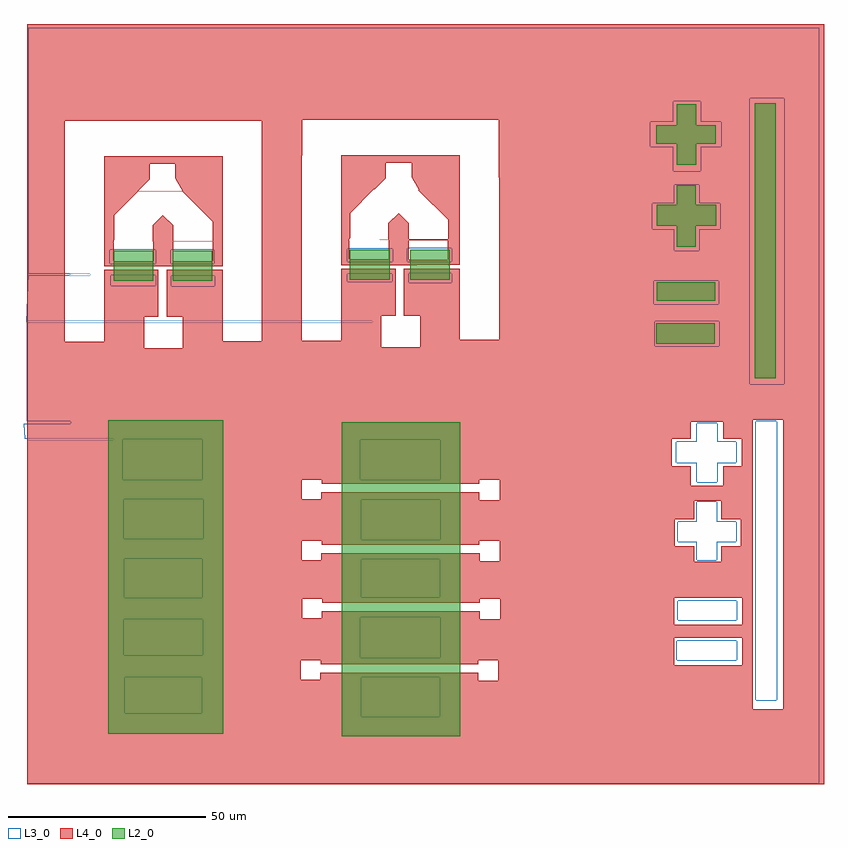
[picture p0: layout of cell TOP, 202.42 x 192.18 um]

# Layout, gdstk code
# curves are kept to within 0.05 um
import gdstk
lib = gdstk.Library(unit=1e-6, precision=1e-09)
def R(c, l, rs):  # rectangles x0, y0, x1, y1
    for r in rs: c.add(gdstk.rectangle(r[:2], r[2:], *l))
def P(c, l, *ps):  # polygons
    for p in ps: c.add(gdstk.Polygon(p, *l))
L2_0 = (2, 0)
L3_0 = (3, 0)
L4_0 = (4, 0)

top = lib.new_cell('TOP')
R(top, L2_0, [(-49679.902,9900.117,-49649.861,9979.466), (-49738.945,9900.682,-49709.785,9980.001), (-49575.408,9990.584,-49570.156,10060.165), (-49600.29,9999.365,-49585.534,10004.492), (-49600.217,10010.24,-49585.461,10014.867), (-49737.541,10015.277,-49727.5,10022.809), (-49722.643,10015.277,-49712.602,10022.809), (-49677.806,10015.521,-49667.765,10023.053), (-49662.56,10015.521,-49652.519,10023.053)])
P(top, L2_0, [(-49595.082,10044.605),(-49595.082,10049.982),(-49600.334,10049.982),(-49600.334,10054.609),(-49595.082,10054.609),(-49595.082,10059.861),(-49590.205,10059.861),(-49590.205,10054.609),(-49585.328,10054.609),(-49585.328,10049.982),(-49590.205,10049.982),(-49590.205,10044.605)],
  [(-49595.082,10023.846),(-49595.082,10029.224),(-49600.209,10029.224),(-49600.209,10034.476),(-49595.082,10034.476),(-49595.082,10039.478),(-49590.33,10039.478),(-49590.33,10034.476),(-49585.203,10034.476),(-49585.203,10029.224),(-49590.33,10029.224),(-49590.33,10023.846)])
P(top, L3_0, [(-49759.429,9888.114),(-49759.429,9914.967),(-49734.731,9914.967),(-49734.731,9905.859),(-49715.214,9905.859),(-49715.214,9914.967),(-49759.429,9914.967),(-49759.429,9915.053),(-49674.965,9915.053),(-49674.965,9904.991),(-49655.071,9904.991),(-49655.071,9915.053),(-49759.429,9915.053),(-49759.429,9929.626),(-49734.991,9929.626),(-49734.991,9920.605),(-49714.982,9920.605),(-49714.982,9929.626),(-49759.429,9929.626),(-49759.429,9930.147),(-49675.167,9930.147),(-49675.167,9919.882),(-49654.927,9919.882),(-49654.927,9924.237),(-49595.102,9924.237),(-49595.102,9919.374),(-49579.906,9919.374),(-49579.906,9924.237),(-49654.927,9924.237),(-49654.927,9930.147),(-49759.429,9930.147),(-49759.429,9934.419),(-49594.95,9934.419),(-49594.95,9929.404),(-49579.906,9929.404),(-49579.906,9934.419),(-49759.429,9934.419),(-49759.429,9945.009),(-49734.876,9945.009),(-49734.876,9935.178),(-49715.098,9935.178),(-49715.098,9944.893),(-49674.878,9944.893),(-49674.878,9935.207),(-49655.071,9935.207),(-49655.071,9944.893),(-49715.098,9944.893),(-49715.098,9945.009),(-49759.429,9945.009),(-49759.429,9960.045),(-49734.991,9960.045),(-49734.991,9950.098),(-49714.867,9950.098),(-49714.867,9959.929),(-49674.878,9959.929),(-49674.878,9949.809),(-49654.927,9949.809),(-49654.927,9959.341),(-49590.087,9959.341),(-49590.087,9954.326),(-49594.95,9954.326),(-49594.95,9949.311),(-49590.087,9949.311),(-49590.087,9944.6),(-49585.073,9944.6),(-49585.073,9949.311),(-49580.058,9949.311),(-49580.058,9954.326),(-49585.073,9954.326),(-49585.073,9959.341),(-49654.927,9959.341),(-49654.927,9959.929),(-49714.867,9959.929),(-49714.867,9960.045),(-49759.429,9960.045),(-49759.429,9975.123),(-49735.177,9975.123),(-49735.177,9964.931),(-49715.148,9964.931),(-49715.148,9975.109),(-49675.167,9975.109),(-49675.167,9964.989),(-49654.927,9964.989),(-49654.927,9975.109),(-49715.148,9975.109),(-49760.008,9975.261),(-49760.262,9979.07),(-49590.087,9979.248),(-49590.087,9974.537),(-49595.254,9974.537),(-49595.254,9969.218),(-49590.087,9969.218),(-49590.087,9964.355),(-49584.921,9964.355),(-49584.921,9969.218),(-49580.058,9969.218),(-49580.058,9974.537),(-49584.921,9974.537),(-49584.921,9979.248),(-49748.32,9979.248),(-49748.32,9979.704),(-49575.195,9979.704),(-49575.195,9909.192),(-49569.876,9909.192),(-49569.876,9979.704),(-49759.519,9979.704),(-49759.519,10005.036),(-49600.712,10005.036),(-49600.712,9998.674),(-49584.375,9998.674),(-49584.375,10005.036),(-49759.623,10004.721),(-49759.133,10017.173),(-49738.248,10016.652),(-49738.248,10013.988),(-49726.923,10013.988),(-49726.923,10016.578),(-49722.926,10016.578),(-49722.926,10013.914),(-49711.971,10013.914),(-49711.971,10016.578),(-49726.923,10016.578),(-49726.923,10016.652),(-49759.133,10016.652),(-49759.133,10016.994),(-49678.402,10016.994),(-49678.402,10015.005),(-49667.026,10015.005),(-49667.026,10016.994),(-49759.133,10016.994),(-49759.133,10017.121),(-49662.957,10017.121),(-49662.957,10014.787),(-49652.042,10014.787),(-49652.042,10015.3),(-49601.001,10015.3),(-49601.001,10009.373),(-49584.52,10009.373),(-49584.52,10015.3),(-49652.042,10015.3),(-49652.042,10017.121),(-49759.133,10017.121),(-49759.133,10023.166),(-49738.47,10023.166),(-49738.47,10019.613),(-49726.849,10019.613),(-49726.849,10023.092),(-49723.148,10023.092),(-49723.148,10019.539),(-49712.045,10019.539),(-49712.045,10023.092),(-49726.849,10023.092),(-49726.849,10023.166),(-49759.133,10023.166),(-49759.133,10023.428),(-49678.475,10023.428),(-49678.475,10020.123),(-49667.002,10020.123),(-49667.002,10023.428),(-49759.133,10023.428),(-49759.133,10023.488),(-49663.26,10023.488),(-49663.26,10020.062),(-49652.042,10020.062),(-49652.042,10023.488),(-49759.133,10023.488),(-49759.133,10039.589),(-49595.796,10039.589),(-49595.796,10034.818),(-49601.29,10034.818),(-49601.29,10028.312),(-49595.796,10028.312),(-49595.796,10022.818),(-49589.435,10022.818),(-49589.435,10028.312),(-49584.086,10028.312),(-49584.086,10034.818),(-49589.435,10034.818),(-49589.435,10039.589),(-49759.133,10039.589),(-49759.133,10060.667),(-49595.97,10060.667),(-49595.97,10055.463),(-49601.868,10055.463),(-49601.868,10049.102),(-49595.97,10049.102),(-49595.97,10042.972),(-49589.03,10042.972),(-49589.03,10049.102),(-49583.826,10049.102),(-49583.826,10055.463),(-49589.03,10055.463),(-49589.03,10060.667),(-49759.133,10060.667),(-49759.133,10061.383),(-49576.708,10061.383),(-49576.708,9989.096),(-49567.955,9989.096),(-49567.955,10061.383),(-49759.133,10061.383),(-49759.133,10079.263),(-49559.083,10079.263),(-49559.083,9888.114)])
P(top, L4_0, [(-49739.889,10018.903),(-49739.889,10037.875),(-49731.348,10037.875),(-49737.332,10031.891),(-49737.332,10025.805),(-49737.69,10024.885),(-49737.547,10024.891),(-49737.547,10020.22),(-49727.579,10020.22),(-49727.579,10025.204),(-49722.46,10025.204),(-49722.46,10020.22),(-49712.492,10020.22),(-49712.492,10025.204),(-49729.872,10025.204),(-49727.666,10025.294),(-49727.666,10029.283),(-49725.057,10031.891),(-49722.501,10029.335),(-49722.501,10025.294),(-49712.528,10025.294),(-49712.528,10030.203),(-49720.2,10037.875),(-49739.889,10037.875),(-49739.889,10044.83),(-49728.433,10044.83),(-49728.433,10040.892),(-49731.348,10037.977),(-49719.995,10037.874),(-49721.938,10041.148),(-49721.938,10044.83),(-49739.889,10044.83),(-49739.889,10046.736),(-49709.986,10046.736),(-49709.986,10018.999),(-49721.008,10018.999),(-49721.008,10018.903)],
  [(-49759.368,9888.02),(-49759.368,9919.32),(-49690.207,9919.32),(-49690.207,9914.334),(-49685.273,9914.334),(-49685.273,9916.108),(-49645.299,9916.108),(-49645.299,9914.117),(-49640.22,9914.117),(-49640.22,9919.268),(-49645.371,9919.268),(-49645.371,9918.239),(-49685.201,9918.239),(-49685.201,9919.32),(-49759.368,9919.32),(-49759.368,9924.987),(-49595.777,9924.987),(-49595.777,9918.045),(-49578.58,9918.045),(-49578.58,9924.987),(-49759.368,9924.987),(-49759.368,9934.896),(-49689.81,9934.896),(-49689.81,9929.91),(-49684.876,9929.91),(-49684.876,9931.684),(-49644.902,9931.684),(-49644.902,9929.693),(-49639.823,9929.693),(-49639.823,9934.844),(-49644.974,9934.844),(-49644.974,9933.815),(-49684.804,9933.815),(-49684.804,9934.896),(-49759.368,9934.896),(-49759.368,9935.081),(-49595.797,9935.081),(-49595.797,9928.239),(-49578.606,9928.239),(-49578.606,9935.081),(-49759.368,9935.081),(-49759.368,9949.552),(-49689.925,9949.552),(-49689.925,9944.566),(-49684.991,9944.566),(-49684.991,9946.34),(-49645.017,9946.34),(-49645.017,9944.349),(-49639.938,9944.349),(-49639.938,9949.5),(-49645.089,9949.5),(-49645.089,9948.471),(-49684.919,9948.471),(-49684.919,9949.552),(-49759.368,9949.552),(-49759.368,9959.63),(-49590.744,9959.63),(-49590.744,9954.924),(-49595.619,9954.924),(-49595.619,9948.201),(-49590.744,9948.201),(-49590.744,9944.167),(-49583.853,9944.167),(-49583.853,9948.201),(-49578.979,9948.201),(-49578.979,9954.924),(-49583.853,9954.924),(-49583.853,9959.63),(-49759.368,9959.63),(-49759.368,9965.015),(-49689.944,9965.015),(-49689.944,9960.029),(-49685.01,9960.029),(-49685.01,9961.803),(-49645.036,9961.803),(-49645.036,9959.812),(-49639.957,9959.812),(-49639.957,9964.963),(-49645.108,9964.963),(-49645.108,9963.934),(-49684.938,9963.934),(-49684.938,9965.015),(-49759.368,9965.015),(-49759.368,9979.631),(-49591.585,9979.631),(-49591.585,9975.261),(-49596.459,9975.261),(-49596.459,9968.37),(-49591.585,9968.37),(-49591.585,9963.496),(-49583.349,9963.496),(-49583.349,9968.37),(-49578.643,9968.37),(-49578.643,9975.261),(-49583.349,9975.261),(-49583.349,9979.631),(-49759.368,9979.631),(-49759.368,9980.077),(-49575.936,9980.077),(-49575.936,9906.938),(-49568.175,9906.938),(-49568.175,9980.077),(-49759.368,9980.077),(-49759.368,10055.71),(-49749.896,10055.71),(-49749.896,10047.257),(-49749.953,10047.257),(-49749.953,9999.825),(-49739.889,9999.825),(-49739.889,10018.04),(-49726.226,10018.04),(-49726.226,10006.128),(-49729.826,10006.128),(-49729.826,9998.243),(-49720.02,9998.243),(-49720.02,10006.128),(-49724.079,10006.128),(-49724.079,10018.04),(-49709.986,10018.04),(-49709.986,10000.03),(-49700.018,10000.03),(-49700.018,10041.215),(-49700.095,10041.215),(-49700.095,10055.71),(-49759.368,10055.71),(-49759.368,10055.99),(-49689.89,10055.99),(-49689.89,10047.016),(-49689.986,10047.016),(-49689.986,10000.105),(-49679.922,10000.105),(-49679.922,10018.32),(-49666.259,10018.32),(-49666.259,10006.408),(-49669.859,10006.408),(-49669.859,9998.523),(-49660.053,9998.523),(-49660.053,10006.408),(-49664.112,10006.408),(-49664.112,10018.32),(-49650.019,10018.32),(-49650.019,10000.31),(-49640.051,10000.31),(-49640.051,10041.495),(-49640.128,10041.495),(-49640.128,10055.99),(-49759.368,10055.99),(-49759.368,10080.201),(-49557.844,10080.201),(-49557.844,9888.02)],
  [(-49679.922,10019.183),(-49679.922,10045.165),(-49668.686,10045.165),(-49668.686,10041.227),(-49671.543,10038.37),(-49671.761,10038.37),(-49677.745,10032.386),(-49677.745,10026.3),(-49678.103,10025.38),(-49677.96,10025.386),(-49677.96,10020.715),(-49667.992,10020.715),(-49667.992,10025.539),(-49662.957,10025.539),(-49662.957,10020.555),(-49652.989,10020.555),(-49652.989,10025.539),(-49667.992,10025.539),(-49667.992,10025.699),(-49670.285,10025.699),(-49668.079,10025.789),(-49668.079,10029.778),(-49665.47,10032.386),(-49662.914,10029.83),(-49662.914,10025.789),(-49652.941,10025.789),(-49652.941,10030.698),(-49660.454,10038.211),(-49660.248,10038.209),(-49662.191,10041.483),(-49662.191,10045.165),(-49679.922,10045.165),(-49679.922,10047.016),(-49650.019,10047.016),(-49650.019,10019.279),(-49661.041,10019.279),(-49661.041,10019.183)])
top.add(gdstk.Label('Schottky contact ', (-49808.974,10072.412), layer=4, texttype=0))
top.add(gdstk.Label('Mesa ', (-49807.707,10063.542), layer=2, texttype=0))
top.add(gdstk.Label('Gate : 9 um ; Source and drain : 10um', (-49734.713,10092.562), layer=2, texttype=0))
top.add(gdstk.Label('Ohmic contact', (-49808.024,10082.865), layer=3, texttype=0))

lib.write_gds('TOP.gds')
